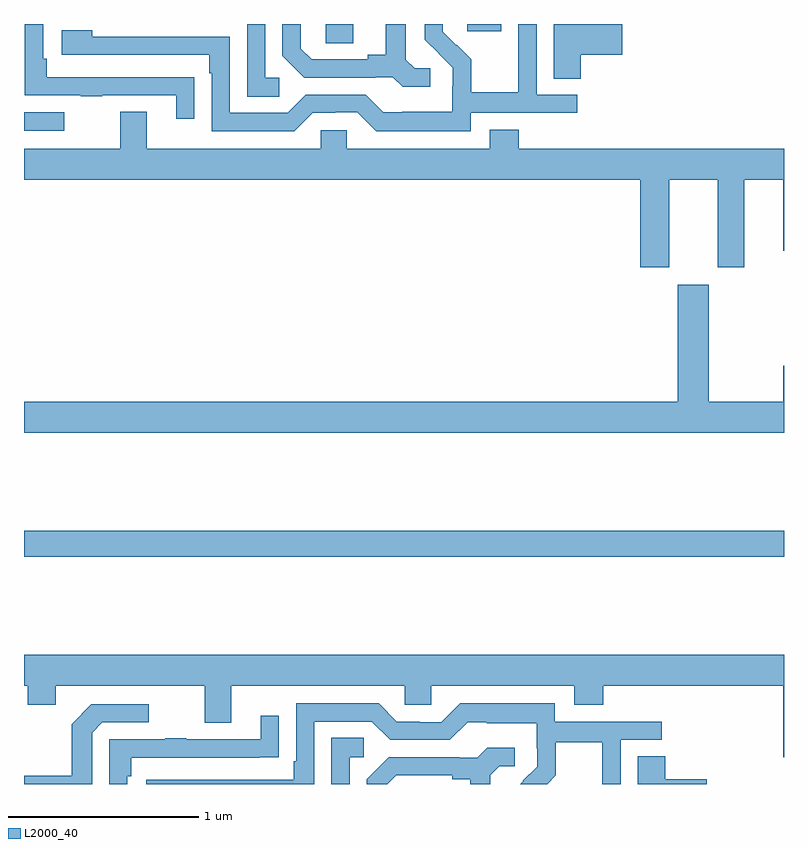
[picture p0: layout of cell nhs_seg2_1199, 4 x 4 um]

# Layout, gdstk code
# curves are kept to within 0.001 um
import gdstk
lib = gdstk.Library(unit=1e-6, precision=1e-09)
def R(c, l, rs):  # rectangles x0, y0, x1, y1
    for r in rs: c.add(gdstk.rectangle(r[:2], r[2:], *l))
def P(c, l, *ps):  # polygons
    for p in ps: c.add(gdstk.Polygon(p, *l))
L2000_40 = (2000, 40)

nhs_seg2_1199 = lib.new_cell('nhs_seg2_1199')
R(nhs_seg2_1199, L2000_40, [(173,634.996,177,635.132), (173,637.239,173.212,637.335), (174.588,637.699,174.733,637.8), (175.334,637.761,175.513,637.8)])
P(nhs_seg2_1199, L2000_40, [(175.35,637.332),(175.912,637.332),(175.912,637.428),(175.698,637.428),(175.698,637.8),(175.602,637.8),(175.602,637.664),(175.6,637.664),(175.6,637.441),(175.355,637.441),(175.355,637.615),(175.278,637.692),(175.275,637.689),(175.205,637.76),(175.205,637.8),(175.11,637.8),(175.11,637.718),(175.256,637.57),(175.256,637.473),(175.254,637.473),(175.254,637.339),(174.991,637.339),(174.991,637.335),(174.891,637.335),(174.798,637.428),(174.483,637.428),(174.387,637.332),(174.084,637.332),(174.084,637.734),(173.36,637.734),(173.36,637.768),(173.199,637.768),(173.199,637.638),(173.975,637.638),(173.975,637.541),(173.988,637.541),(173.988,637.236),(174.423,637.236),(174.519,637.332),(174.638,637.332),(174.638,637.335),(174.753,637.335),(174.853,637.235),(175.35,637.235)],
  [(175.931,637.637),(176.149,637.637),(176.149,637.8),(175.787,637.8),(175.787,637.513),(175.931,637.513)],
  [(173.897,637.52),(173.795,637.52),(173.795,637.521),(173.12,637.521),(173.12,637.618),(173.1,637.618),(173.1,637.8),(173.004,637.8),(173.004,637.425),(173.299,637.425),(173.299,637.42),(173.411,637.42),(173.411,637.425),(173.801,637.425),(173.801,637.302),(173.897,637.302)],
  [(174.343,637.518),(174.27,637.518),(174.27,637.8),(174.174,637.8),(174.174,637.417),(174.343,637.417)],
  [(175.138,637.566),(175.056,637.566),(175.009,637.613),(175.009,637.8),(174.905,637.8),(174.905,637.637),(174.809,637.637),(174.809,637.614),(174.514,637.614),(174.457,637.671),(174.457,637.8),(174.36,637.8),(174.36,637.634),(174.476,637.518),(174.848,637.518),(174.848,637.521),(174.942,637.521),(174.994,637.469),(175.138,637.469)],
  [(176.395,636.98),(176.651,636.98),(176.651,636.519),(176.791,636.519),(176.791,636.98),(176.996,636.98),(176.996,636.606),(177,636.606),(177,637.144),(175.604,637.144),(175.604,637.243),(175.451,637.243),(175.451,637.144),(174.699,637.144),(174.699,637.242),(174.561,637.242),(174.561,637.144),(173.647,637.144),(173.647,637.339),(173.507,637.339),(173.507,637.144),(173,637.144),(173,636.98),(176.243,636.98),(176.243,636.519),(176.395,636.519)],
  [(177,636.001),(176.996,636.001),(176.996,635.812),(176.605,635.812),(176.605,636.427),(176.441,636.427),(176.441,635.812),(173,635.812),(173,635.648),(177,635.648)],
  [(177,634.48),(173,634.48),(173,634.316),(173.02,634.316),(173.02,634.217),(173.167,634.217),(173.167,634.316),(173.951,634.316),(173.951,634.122),(174.091,634.122),(174.091,634.316),(175.005,634.316),(175.005,634.218),(175.143,634.218),(175.143,634.316),(175.895,634.316),(175.895,634.217),(176.048,634.217),(176.048,634.316),(176.996,634.316),(176.996,633.942),(177,633.942)],
  [(174.528,634.128),(174.831,634.128),(174.927,634.032),(175.242,634.032),(175.335,634.125),(175.435,634.125),(175.435,634.121),(175.698,634.121),(175.698,633.987),(175.7,633.987),(175.7,633.89),(175.626,633.816),(175.627,633.815),(175.612,633.8),(175.754,633.8),(175.799,633.845),(175.799,634.02),(176.044,634.02),(176.044,633.8),(176.142,633.8),(176.142,634.032),(176.356,634.032),(176.356,634.128),(175.794,634.128),(175.794,634.225),(175.297,634.225),(175.197,634.125),(175.082,634.125),(175.082,634.128),(174.963,634.128),(174.867,634.224),(174.432,634.224),(174.432,633.919),(174.419,633.919),(174.419,633.822),(173.643,633.822),(173.643,633.8),(174.528,633.8)],
  [(173.358,634.071),(173.412,634.125),(173.656,634.125),(173.656,634.221),(173.355,634.221),(173.25,634.115),(173.25,633.843),(173,633.843),(173,633.8),(173.358,633.8)],
  [(173.544,633.842),(173.564,633.842),(173.564,633.939),(174.239,633.939),(174.239,633.94),(174.341,633.94),(174.341,634.159),(174.245,634.159),(174.245,634.035),(173.855,634.035),(173.855,634.04),(173.743,634.04),(173.743,634.035),(173.448,634.035),(173.448,633.8),(173.544,633.8)],
  [(174.714,633.942),(174.787,633.942),(174.787,634.043),(174.618,634.043),(174.618,633.8),(174.714,633.8)],
  [(174.958,633.846),(175.253,633.846),(175.253,633.824),(175.349,633.824),(175.349,633.8),(175.453,633.8),(175.453,633.847),(175.5,633.894),(175.582,633.894),(175.582,633.991),(175.438,633.991),(175.386,633.939),(175.292,633.939),(175.292,633.942),(174.92,633.942),(174.804,633.826),(174.804,633.8),(174.912,633.8)],
  [(176.593,633.824),(176.375,633.824),(176.375,633.947),(176.231,633.947),(176.231,633.8),(176.593,633.8)])

lib.write_gds('nhs_seg2_1199.gds')
